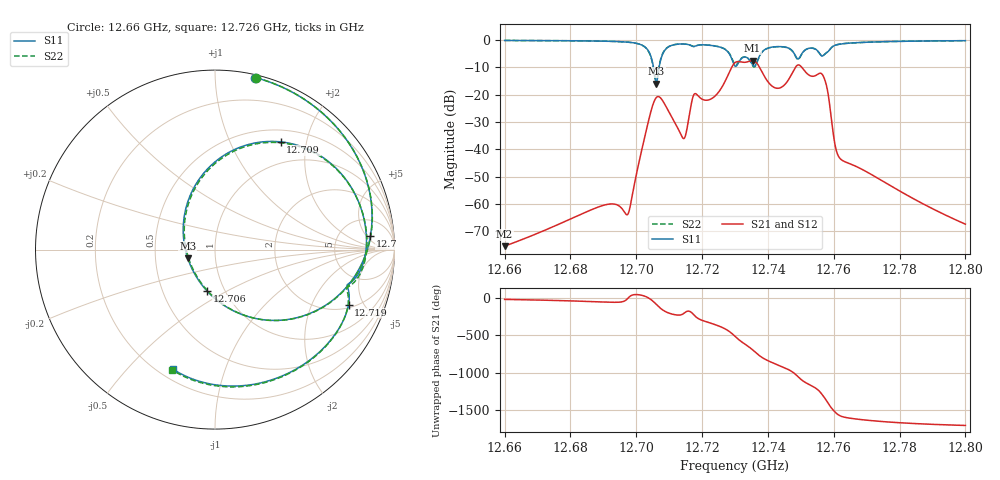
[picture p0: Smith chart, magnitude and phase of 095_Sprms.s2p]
! TOUCHSTONE file generated by CST MICROWAVE STUDIO
! Date and time: Wed Jul 31 15:32:11 2024
! Project name: WaveGuide_BPF-Ver4.1_U-shape_Ku_T3_C4_CWA_2.cst
! Parameters = {cavity_h=16; cavity_l0=10; cavity_l1=15.1703; cavity_l2=16.8351; cavity_l3=17.1438; cavity_l4=17.227; cavity_l5=17.1028; cavity_l6=17.5774; cavity_r=2.5; cavity_screw_l=0.5; cavity_screw_r=1.5; cavity_w=8; iris_h00=0; iris_h01=8.8215; iris_h112=0; iris_h12=5.5875; iris_h211=3.6581; i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
! Header version: 2018
! Port assignment regex: !\s*Touchstone port\s*([0-9]+)\s*=\s*(CST MWS port|CST DS port)\s*([0-9]+|Zmin|Zmax)\s*\(\"(.*)\"\)(\s*mode\s*([0-9]+))?.*
! Touchstone port assignment:
! Touchstone port 1 = CST MWS port 1 ("")
! Touchstone port 2 = CST MWS port 2 ("")
# GHz S RI R 50
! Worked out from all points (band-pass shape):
!   5001 points, 12.66 GHz to 12.8 GHz, reference 50 ohm
!   highest |S21| = -7.49 dB at 12.735 GHz (marker M1); lowest = -75.4 dB at 12.66 GHz (marker M2)
!   |S21| within 3 dB of the highest: 12.72878 GHz to 12.73768 GHz (8.899 MHz wide, 0.0699 % of centre); 12.74809 GHz to 12.75064 GHz (2.551 MHz wide, 0.02 % of centre)
!   lowest |S11| = -16.0 dB at 12.706 GHz (marker M3), VSWR 1.38, Z = 36.7 - j3.57 ohm
!   |S11| at or under -10 dB: 12.70523 GHz to 12.70693 GHz (1.698 MHz wide, 0.0134 % of centre)
!   |S22| runs from -16.2 to -0.1 dB; largest |S21 - S12| = 1e-09
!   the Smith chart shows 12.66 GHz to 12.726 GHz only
!   S11 on the Smith chart (normalised r, x): 12.66 GHz: 0.02, +1.26; 12.7 GHz: 10, +6; 12.706 GHz: 0.83, -0.40; 12.709 GHz: 0.66, +1.58; 12.719 GHz: 2.21, -3.85; 12.726 GHz: 0.25, -0.68
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12.66  0.2234 0.9587  0.000162 -4.91e-05  0.000162 -4.91e-05  0.229 0.9574
12.68335  0.5819 0.7746  0.000489 -0.000434  0.000489 -0.000434  0.588 0.7699
12.69724  0.8621 0.3158  0.000619 -0.000137  0.000619 -0.000137  0.8651 0.3061
12.70015  0.8659 0.0752  0.00252 0.0028  0.00252 0.0028  0.8656 0.0638
12.70556  -0.0438 -0.2313  0.0383 -0.0687  0.0383 -0.0687  -0.0594 -0.2089
12.70609  -0.152 -0.0475  0.00918 -0.0883  0.00918 -0.0883  -0.1559 -0.0175
12.70668  -0.1712 0.1856  -0.031 -0.0872  -0.031 -0.0872  -0.1591 0.2154
12.70917  0.3662 0.6002  -0.0584 0.00763  -0.0584 0.00763  0.3932 0.5919
12.71438  0.8425 0.0883  -0.014 0.00727  -0.014 0.00727  0.8457 0.0679
12.71874  0.7442 -0.3065  0.00388 0.0959  0.00388 0.0959  0.7381 -0.3256
12.72642  -0.2324 -0.6673  0.115 -0.0978  0.115 -0.0978  -0.2373 -0.6709
12.73  -0.2806 -0.1824  -0.3434 -0.1755  -0.3434 -0.1755  -0.2968 -0.1919
12.73283  -0.4692 -0.1385  -0.1165 0.3736  -0.1165 0.3736  -0.4751 -0.1311
12.73532  -0.3431 0.0801  0.3795 0.185  0.3795 0.185  -0.335 0.0804
12.73913  -0.5637 0.3685  -0.0405 -0.2034  -0.0405 -0.2034  -0.5724 0.3507
12.74336  0.0459 0.7583  -0.1314 0.0103  -0.1314 0.0103  0.0293 0.7569
12.7496  0.402 0.2541  0.3456 0.031  0.3456 0.031  0.3904 0.256
12.75335  0.7044 -0.1148  -0.0378 -0.2146  -0.0378 -0.2146  0.7024 -0.1111
12.75727  0.4772 -0.2828  -0.0212 0.1872  -0.0212 0.1872  0.4748 -0.2857
12.76178  0.3612 -0.7607  -0.00519 -0.00462  -0.00519 -0.00462  0.3525 -0.7642
12.77668  -0.7214 -0.6011  -0.00159 0.00161  -0.00159 0.00161  -0.728 -0.5936
12.8  -0.971 0.0864  1.18e-05 0.000427  1.18e-05 0.000427  -0.9706 0.0927
